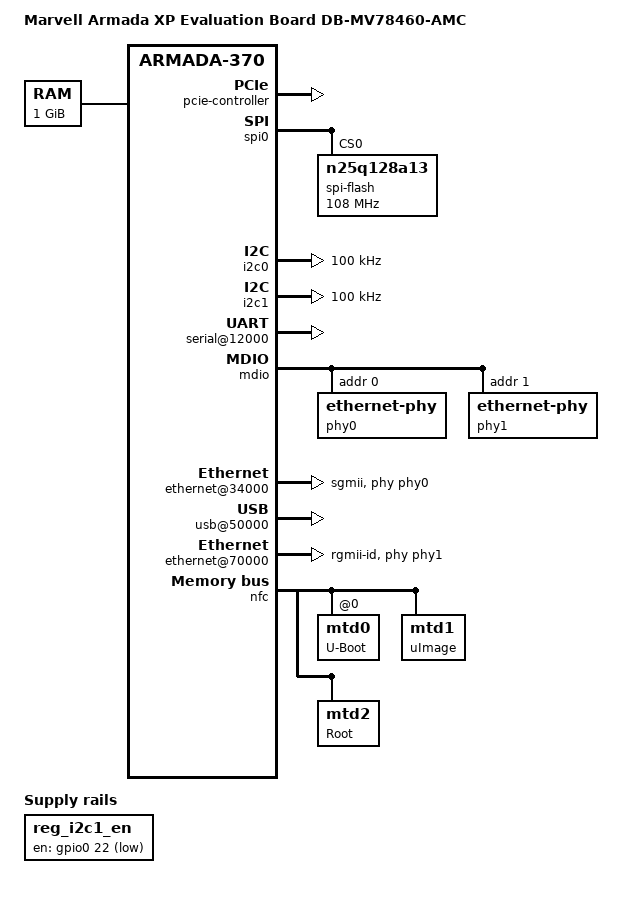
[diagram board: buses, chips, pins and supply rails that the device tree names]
/*
* ***************************************************************************
* Copyright (C) 2016 Marvell International Ltd.
* ***************************************************************************
* This program is free software: you can redistribute it and/or modify it
* under the terms of the GNU General Public License as published by the Free
* Software Foundation, either version 2 of the License, or any later version.
*
* This program is distributed in the hope that it will be useful,
* but WITHOUT ANY WARRANTY; without even the implied warranty of
* MERCHANTABILITY or FITNESS FOR A PARTICULAR PURPOSE.  See the
* GNU General Public License for more details.
*
* You should have received a copy of the GNU General Public License
* along with this program.  If not, see <http://www.gnu.org/licenses/>.
* ***************************************************************************
*/

/dts-v1/;
#include <dt-bindings/gpio/gpio.h>
#include "armada-xp-mv78460.dtsi"

/ {
	model = "Marvell Armada XP Evaluation Board DB-MV78460-AMC";
	compatible = "marvell,axp-amc", "marvell,armadaxp-mv78460", "marvell,armadaxp", "marvell,armada-370-xp";

	chosen {
		bootargs = "console=ttyS0,115200 earlyprintk";
	};

	memory {
		device_type = "memory";
		reg = <0 0x00000000 0 0x40000000>; /* 1 GB */
	};

	soc {
		pcie-mem-aperture = <0x80000000 0x20000000>; /* 512M */

		ranges = <MBUS_ID(0xf0, 0x01) 0 0 0xf1000000 0x100000
			  MBUS_ID(0x01, 0x1d) 0 0 0xfff00000 0x100000
			  MBUS_ID(0x01, 0x2f) 0 0 0xf2000000 0x2000000>;

		pcie-controller {
			status = "okay";

			/*
			 *Only one slot is physically present as
			 * standard PCIe slot on the board.
			 */
			pcie@1,0 {
				/* Port 0, Lane 0 */
				status = "okay";
			};
		};

		internal-regs {
			spi0: spi@10600 {
				status = "okay";

				spi-flash@0 {
					#address-cells = <1>;
					#size-cells = <1>;
					compatible = "n25q128a13";
					reg = <0>; /* Chip select 0 */
					spi-max-frequency = <108000000>;
				};
			};

			i2c0: i2c@11000 {
				status = "okay";
				clock-frequency = <100000>;
			};

			i2c1: i2c@11100 {
				status = "okay";
				clock-frequency = <100000>;
			};

			serial@12000 {
				status = "okay";
			};

			pinctrl {
				i2c1_en_pins: i2c1_en_pins {
					marvell,pins = "mpp22";
					marvell,function = "gpio";
				};
			};

			mdio {
				phy0: ethernet-phy@0 {
					reg = <0>;
				};

				phy1: ethernet-phy@1 {
					reg = <1>;
				};
			};

			ethernet@34000 {
				status = "okay";
				phy = <&phy0>;
				phy-mode = "sgmii";
			};

			/* Front-side USB slot */
			usb@50000 {
				status = "okay";
			};

			ethernet@70000 {
				status = "okay";
				phy = <&phy1>;
				phy-mode = "rgmii-id";
			};

			/* Neta working in accelerate mode 1 */
			bm_pnc@c0000 {
				neta_cap_bm = <0x0>;
			};

			/* 1GB Flash via NFC NAND controller */
			nfc: nand-flash@d0000 {
				#address-cells = <1>;
				#size-cells = <1>;
				status = "okay";

				nfc,nfc-mode  = "normal";       /* normal or ganged */
				nfc,nfc-dma   = <0>;            /* 0 for no, 1 for dma */
				nfc,nfc-width = <8>;
				nfc,ecc-type  = <1>;            /* 4 bit */
				nfc,num-cs    = <1>;

				mtd0@00000000 {
					label = "U-Boot";
					reg = <0x00000000 0x00100000>;
					read-only;
				};

				mtd1@00100000 {
					label = "uImage";
					reg = <0x00100000 0x00400000>;
					read-only;
				};

				mtd2@00500000 {
					label = "Root";
					reg = <0x00500000 0x3fb00000>;
				};
			};

			prestera {
				compatible = "marvell,armada-prestera", "simple-bus";
				status = "okay";
			};
		};
	};

	reg_i2c1_en: i2c1_en {
		compatible = "regulator-fixed";
		pinctrl-names = "default";
		pinctrl-0 = <&i2c1_en_pins>;
		regulator-name = "i2c1_en";
		regulator-always-on;
		gpio = <&gpio0 22 GPIO_ACTIVE_LOW>;
	};
};

